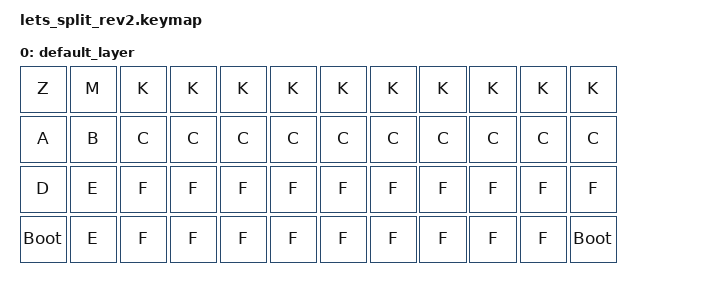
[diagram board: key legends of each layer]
#include <behaviors.dtsi>
#include <dt-bindings/zmk/keys.h>

/ {
    keymap {
        compatible = "zmk,keymap";

        default_layer {
            bindings = <
                &kp Z          &kp M    &kp K    &kp K    &kp K    &kp K    &kp K    &kp K    &kp K    &kp K    &kp K    &kp K
                &kp A          &kp B    &kp C    &kp C    &kp C    &kp C    &kp C    &kp C    &kp C    &kp C    &kp C    &kp C
                &kp D          &kp E    &kp F    &kp F    &kp F    &kp F    &kp F    &kp F    &kp F    &kp F    &kp F    &kp F
                &bootloader    &kp E    &kp F    &kp F    &kp F    &kp F    &kp F    &kp F    &kp F    &kp F    &kp F    &bootloader
            >;
        };
    };
 };
